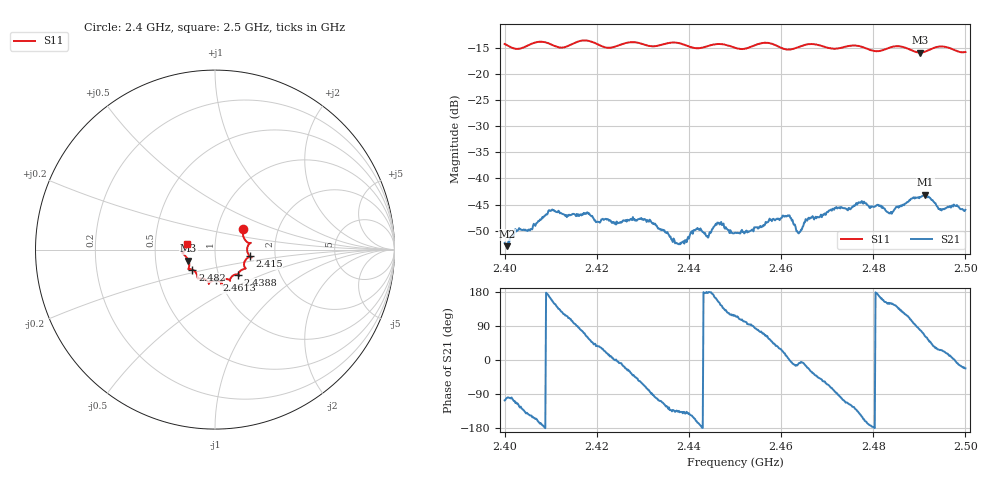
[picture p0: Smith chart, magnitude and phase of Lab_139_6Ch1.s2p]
# Hz S RI R 50
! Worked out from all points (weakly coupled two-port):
!   601 points, 2.4 GHz to 2.5 GHz, reference 50 ohm
!   highest |S21| = -43.08 dB at 2.4913 GHz (marker M1); lowest = -53.0 dB at 2.4005 GHz (marker M2)
!   lowest |S11| = -15.9 dB at 2.4902 GHz (marker M3), VSWR 1.38, Z = 36.9 - j4.65 ohm
!   |S11| at or under -10 dB: start of sweep to end of sweep
!   S12 and S22 are empty: the file has one direction only
!   S11 on the Smith chart (normalised r, x): 2.4 GHz: 1.33, +0.31; 2.415 GHz: 1.47, -0.11; 2.4388 GHz: 1.24, -0.36; 2.4613 GHz: 0.96, -0.34; 2.482 GHz: 0.76, -0.17; 2.5 GHz: 0.72, +0.05
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2.4e9  0.1575 0.1125  -0.000682 -0.00231  0 0  0 0
2.4005e9  0.1563 0.1058  -0.000393 -0.00222  0 0  0 0
2.402667e9  0.1596 0.0687  -0.00134 -0.00286  0 0  0 0
2.41e9  0.1901 0.0309  -0.00464 0.00152  0 0  0 0
2.415e9  0.1927 -0.0364  -0.000589 0.00454  0 0  0 0
2.416667e9  0.2036 -0.0443  0.00092 0.00433  0 0  0 0
2.433333e9  0.1324 -0.1317  -0.00092 -0.00318  0 0  0 0
2.438833e9  0.1296 -0.1407  -0.00184 -0.00171  0 0  0 0
2.4415e9  0.1045 -0.1421  -0.00307 -0.00109  0 0  0 0
2.444167e9  0.085 -0.1647  -0.00271 0.000115  0 0  0 0
2.4465e9  0.0842 -0.1745  -0.00333 0.00177  0 0  0 0
2.45e9  0.0685 -0.1646  -0.00138 0.00269  0 0  0 0
2.461333e9  0.0082 -0.171  0.00434 0.000633  0 0  0 0
2.463833e9  -0.0253 -0.1798  0.00295 -0.00046  0 0  0 0
2.466667e9  -0.0346 -0.1903  0.00362 -0.00221  0 0  0 0
2.477167e9  -0.0969 -0.1565  -0.00473 -0.00351  0 0  0 0
2.482e9  -0.126 -0.1118  -0.00503 0.00194  0 0  0 0
2.483333e9  -0.1398 -0.1088  -0.00409 0.00228  0 0  0 0
2.490167e9  -0.1481 -0.0615  0.00128 0.00653  0 0  0 0
2.491333e9  -0.1581 -0.0441  0.00334 0.00617  0 0  0 0
2.4945e9  -0.1817 -0.0207  0.00452 0.00219  0 0  0 0
2.5e9  -0.1588 0.0325  0.00464 -0.00189  0 0  0 0
